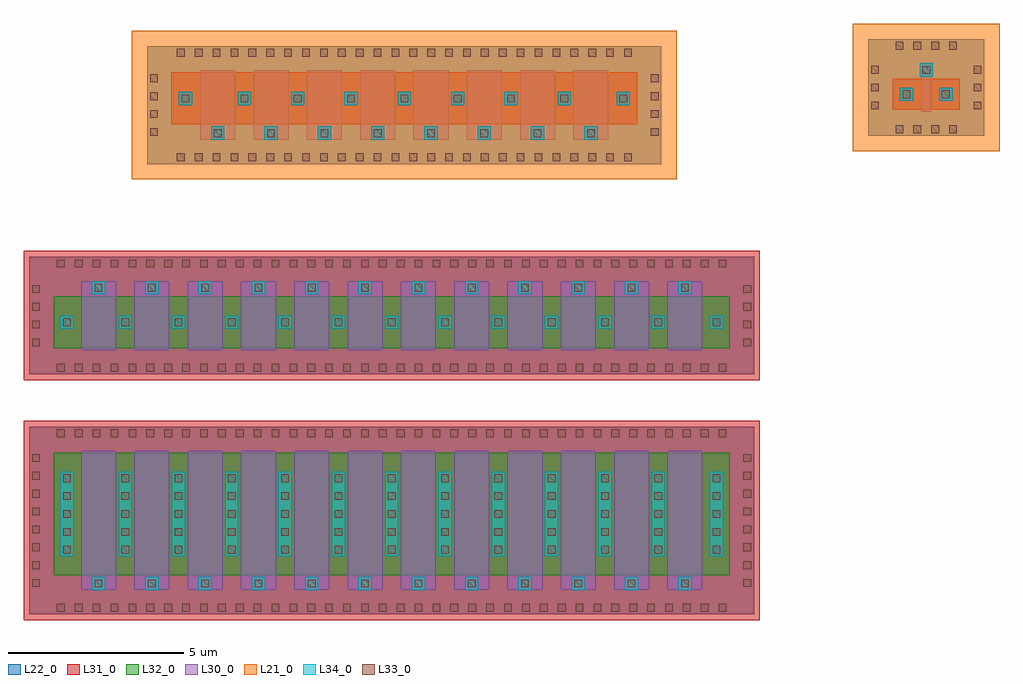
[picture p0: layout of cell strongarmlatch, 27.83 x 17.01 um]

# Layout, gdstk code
import gdstk
lib = gdstk.Library(unit=1e-6, precision=1e-09)
def R(c, l, rs):  # rectangles x0, y0, x1, y1
    for r in rs: c.add(gdstk.rectangle(r[:2], r[2:], *l))
def A(c, l, x, y, w, h, nx, ny, dx, dy):  # array of equal rectangles
    R(c, l, [(x+i*dx, y+j*dy, x+i*dx+w, y+j*dy+h) for i in range(nx) for j in range(ny)])
def P(c, l, *ps):  # polygons
    for p in ps: c.add(gdstk.Polygon(p, *l))
L21_0 = (21, 0)
L22_0 = (22, 0)
L30_0 = (30, 0)
L31_0 = (31, 0)
L32_0 = (32, 0)
L33_0 = (33, 0)
L34_0 = (34, 0)

nfet = lib.new_cell('nfet')
R(nfet, L22_0, [(-1.28,-1.36,19.38,3.99), (-0.42,0,18.52,3)])
A(nfet, L30_0, 0.19, -0.66, 1, 3.96, 12, 1, 1.52, 0)
R(nfet, L31_0, [(-1.45,-1.53,19.55,4.16)])
R(nfet, L32_0, [(-0.59,-0.24,18.69,3.24)])
A(nfet, L33_0, -0.495, -1.28, 0.22, 0.22, 38, 2, 0.51, 4.97)
A(nfet, L33_0, 0.58, -0.59, 0.22, 0.22, 12, 1, 1.52, 0)
A(nfet, L33_0, -1.2, -0.58, 0.22, 0.22, 1, 8, 0, 0.51)
A(nfet, L33_0, 19.08, -0.58, 0.22, 0.22, 1, 8, 0, 0.51)
A(nfet, L33_0, -0.32, 0.37, 0.22, 0.22, 1, 5, 0, 0.51)
A(nfet, L33_0, 1.34, 0.37, 0.22, 0.22, 11, 5, 1.52, 0.51)
A(nfet, L33_0, 18.2, 0.37, 0.22, 0.22, 1, 5, 0, 0.51)
A(nfet, L34_0, 0.5, -0.67, 0.38, 0.38, 12, 1, 1.52, 0)
A(nfet, L34_0, 1.26, 0.29, 0.38, 2.42, 11, 1, 1.52, 0)
R(nfet, L34_0, [(-0.4,0.29,-0.02,2.71), (18.12,0.29,18.5,2.71)])

nfet_2 = lib.new_cell('nfet$2')
R(nfet_2, L22_0, [(-1.28,-0.99,19.38,2.36), (-0.42,0,18.52,1)])
A(nfet_2, L30_0, 0.19, -0.3, 1, 1.96, 12, 1, 1.52, 0)
R(nfet_2, L31_0, [(-1.45,-1.16,19.55,2.53)])
R(nfet_2, L32_0, [(-0.59,-0.24,18.69,1.24)])
A(nfet_2, L33_0, -0.495, -0.91, 0.22, 0.22, 38, 2, 0.51, 2.97)
A(nfet_2, L33_0, -1.2, -0.19, 0.22, 0.22, 1, 4, 0, 0.51)
A(nfet_2, L33_0, 19.08, -0.19, 0.22, 0.22, 1, 4, 0, 0.51)
A(nfet_2, L33_0, 1.34, 0.39, 0.22, 0.22, 11, 1, 1.52, 0)
A(nfet_2, L33_0, 0.58, 1.37, 0.22, 0.22, 12, 1, 1.52, 0)
R(nfet_2, L33_0, [(-0.32,0.39,-0.1,0.61), (18.2,0.39,18.42,0.61)])
A(nfet_2, L34_0, 1.26, 0.31, 0.38, 0.38, 11, 1, 1.52, 0)
A(nfet_2, L34_0, 0.5, 1.29, 0.38, 0.38, 12, 1, 1.52, 0)
R(nfet_2, L34_0, [(-0.4,0.31,-0.02,0.69), (18.12,0.31,18.5,0.69)])

pfet = lib.new_cell('pfet')
R(pfet, L21_0, [(-1.76,-1.81,13.78,2.43)])
R(pfet, L22_0, [(-1.32,-1.37,13.34,1.99), (-0.46,0,12.48,1)])
A(pfet, L30_0, 0.19, -0.68, 1, 1.98, 8, 1, 1.52, 0)
R(pfet, L31_0, [(-0.63,-0.24,12.65,1.24)])
A(pfet, L33_0, -0.475, -1.29, 0.22, 0.22, 26, 2, 0.51, 2.98)
A(pfet, L33_0, 0.58, -0.6, 0.22, 0.22, 8, 1, 1.52, 0)
A(pfet, L33_0, -1.24, -0.565, 0.22, 0.22, 1, 4, 0, 0.51)
A(pfet, L33_0, 13.04, -0.565, 0.22, 0.22, 1, 4, 0, 0.51)
A(pfet, L33_0, 1.34, 0.39, 0.22, 0.22, 7, 1, 1.52, 0)
R(pfet, L33_0, [(-0.34,0.39,-0.12,0.61), (12.14,0.39,12.36,0.61)])
A(pfet, L34_0, 0.5, -0.68, 0.38, 0.38, 8, 1, 1.52, 0)
A(pfet, L34_0, 1.26, 0.31, 0.38, 0.38, 7, 1, 1.52, 0)
R(pfet, L34_0, [(-0.42,0.31,-0.04,0.69), (12.06,0.31,12.44,0.69)])

pfet_2 = lib.new_cell('pfet$2')
R(pfet_2, L21_0, [(-1.76,-1.43,2.42,2.21)])
R(pfet_2, L22_0, [(-1.32,-0.99,1.98,1.77), (-0.46,0,1.12,0.4)])
P(pfet_2, L30_0, [(0.19,-0.3),(0.19,0.7),(0.14,0.7),(0.14,1.08),(0.52,1.08),(0.52,0.7),(0.47,0.7),(0.47,-0.3)])
R(pfet_2, L31_0, [(-0.63,-0.24,1.29,0.64)])
A(pfet_2, L33_0, -0.545, -0.91, 0.22, 0.22, 4, 2, 0.51, 2.38)
A(pfet_2, L33_0, -1.24, -0.23, 0.22, 0.22, 1, 3, 0, 0.51)
A(pfet_2, L33_0, 1.68, -0.23, 0.22, 0.22, 1, 3, 0, 0.51)
R(pfet_2, L33_0, [(-0.34,0.09,-0.12,0.31), (0.78,0.09,1,0.31), (0.22,0.78,0.44,1)])
R(pfet_2, L34_0, [(-0.42,0.01,-0.04,0.39), (0.7,0.01,1.08,0.39), (0.14,0.7,0.52,1.08)])

strongarmlatch = lib.new_cell('strongarmlatch')
strongarmlatch.add(gdstk.Reference(nfet, (1.91,3.94)))
strongarmlatch.add(gdstk.Reference(nfet, (1.91,3.94)))
strongarmlatch.add(gdstk.Reference(nfet_2, (1.91,10.41)))
strongarmlatch.add(gdstk.Reference(pfet, (5.31,16.79)))
strongarmlatch.add(gdstk.Reference(pfet_2, (25.87,17.21)))

lib.write_gds('strongarmlatch.gds')
